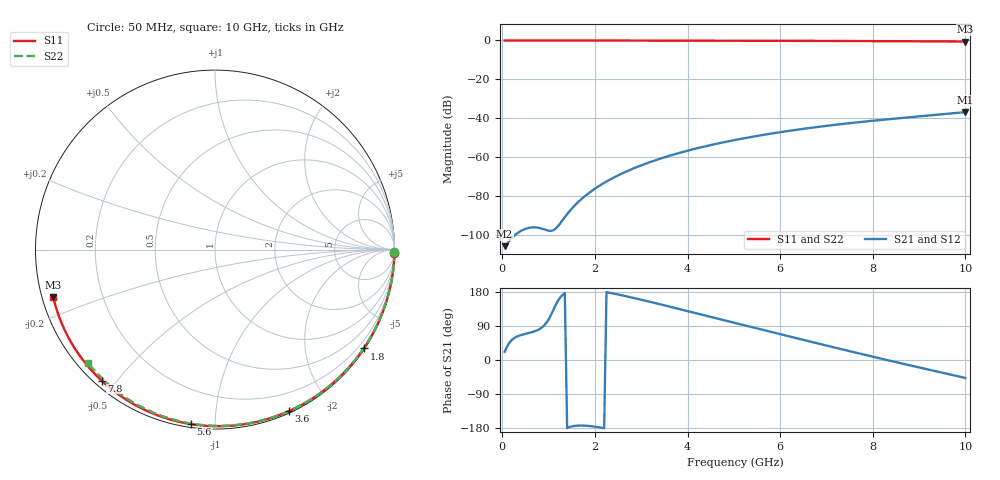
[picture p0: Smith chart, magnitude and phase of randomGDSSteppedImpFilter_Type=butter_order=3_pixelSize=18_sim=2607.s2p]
! freq	dB(S11)	phase(S11)	dB(S12)	phase(S12)
!  dB(S21)	phase(S21)	dB(S22)	phase(S22)
!S-par simulation data
#  GHz  S  DB  R 50
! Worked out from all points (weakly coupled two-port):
!   200 points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, 50 MHz to 10 GHz, reference 50 ohm
!   highest |S21| = -36.75 dB at 10 GHz (marker M1); lowest = -105.5 dB at 50 MHz (marker M2)
!   lowest |S11| = -0.5 dB at 10 GHz (marker M3), VSWR 32.11, Z = 1.59 - j7.2 ohm
!   |S11| at or under -10 dB: nowhere
!   |S22| runs from -0.5 to 0.0 dB; largest |S21 - S12| = 0
!   S11 on the Smith chart (normalised r, x): 50 MHz: open; 1.8 GHz: 0.03, -3.31; 3.6 GHz: 0.02, -1.56; 5.6 GHz: 0.02, -0.87; 7.8 GHz: 0.02, -0.46; 10 GHz: 0.03, -0.14
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0.05  -0.00 -1.0  -105.52 21.8  -105.52 21.8  -0.00 -0.8
0.45  -0.01 -8.5  -97.10 67.5  -97.10 67.5  -0.01 -7.2
0.85  -0.02 -16.1  -96.48 85.4  -96.48 85.4  -0.02 -13.5
1.3  -0.03 -24.4  -92.20 171.8  -92.20 171.8  -0.03 -20.6
1.75  -0.04 -32.7  -80.52 -173.0  -80.52 -173.0  -0.04 -27.6
1.8  -0.04 -33.6  -79.54 -173.4  -79.54 -173.4  -0.04 -28.4
2.1  -0.05 -39.0  -74.48 -177.8  -74.48 -177.8  -0.04 -33.0
2.3  -0.05 -42.6  -71.68 177.8  -71.68 177.8  -0.05 -36.0
2.5  -0.06 -46.2  -69.20 172.9  -69.20 172.9  -0.05 -39.1
2.9  -0.07 -53.3  -64.99 162.0  -64.99 162.0  -0.06 -45.1
3.4  -0.08 -61.9  -60.70 147.3  -60.70 147.3  -0.07 -52.5
3.6  -0.09 -65.3  -59.22 141.3  -59.22 141.3  -0.07 -55.4
4.3  -0.11 -77.0  -54.76 119.9  -54.76 119.9  -0.09 -65.4
5.05  -0.14 -89.1  -50.94 97.0  -50.94 97.0  -0.12 -75.8
5.6  -0.16 -97.8  -48.58 80.3  -48.58 80.3  -0.14 -83.3
6.15  -0.19 -106.3  -46.51 63.7  -46.51 63.7  -0.16 -90.6
6.7  -0.22 -114.6  -44.70 47.1  -44.70 47.1  -0.19 -97.7
7.25  -0.26 -122.8  -43.09 30.7  -43.09 30.7  -0.22 -104.7
7.8  -0.31 -130.9  -41.67 14.5  -41.67 14.5  -0.26 -111.5
8.35  -0.36 -139.0  -40.38 -1.3  -40.38 -1.3  -0.30 -118.3
9.2  -0.44 -151.5  -38.53 -25.1  -38.53 -25.1  -0.38 -128.6
10  -0.54 -163.6  -36.75 -47.4  -36.75 -47.4  -0.46 -138.2
